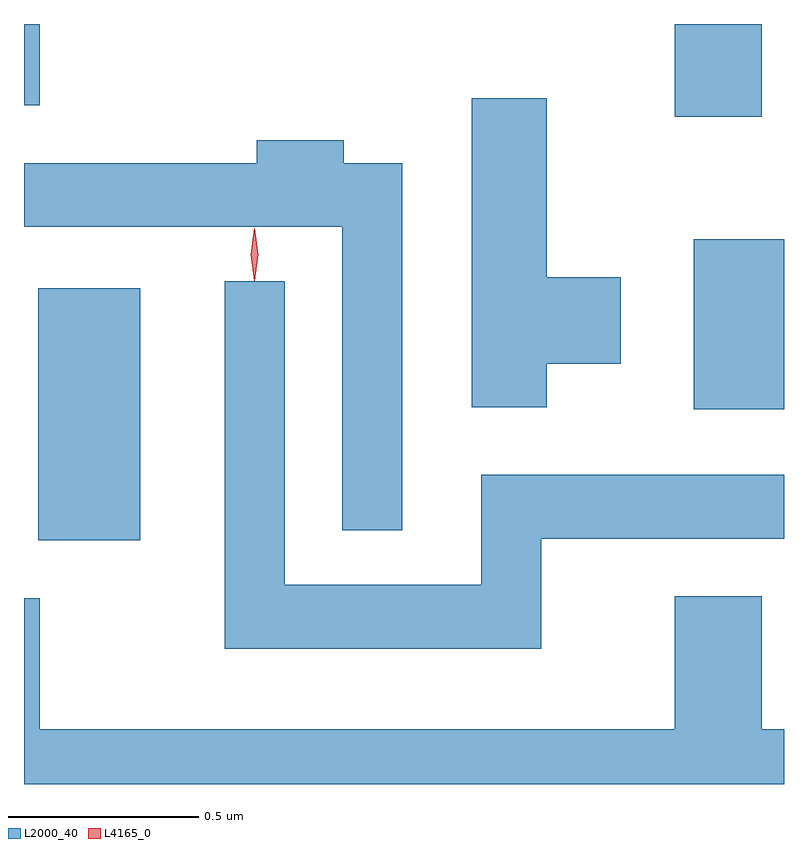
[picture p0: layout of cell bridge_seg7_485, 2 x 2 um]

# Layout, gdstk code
import gdstk
lib = gdstk.Library(unit=1e-6, precision=1e-09)
def R(c, l, rs):  # rectangles x0, y0, x1, y1
    for r in rs: c.add(gdstk.rectangle(r[:2], r[2:], *l))
def P(c, l, *ps):  # polygons
    for p in ps: c.add(gdstk.Polygon(p, *l))
L2000_40 = (2000, 40)
L4165_0 = (4165, 0)

bridge_seg7_485 = lib.new_cell('bridge_seg7_485')
R(bridge_seg7_485, L2000_40, [(1117.696,1732.841,1117.964,1733.504), (1119.421,1733.186,1119.658,1733.634), (1119.371,1733.956,1119.599,1734.2), (1117.658,1733.986,1117.699,1734.2)])
P(bridge_seg7_485, L2000_40, [(1119.034,1733.306),(1119.229,1733.306),(1119.229,1733.534),(1119.034,1733.534),(1119.034,1734.004),(1118.836,1734.004),(1118.836,1733.191),(1119.034,1733.191)],
  [(1118.654,1733.834),(1118.499,1733.834),(1118.499,1733.894),(1118.271,1733.894),(1118.271,1733.834),(1117.658,1733.834),(1117.658,1733.666),(1118.496,1733.666),(1118.496,1732.868),(1118.654,1732.868)],
  [(1119.019,1732.846),(1119.658,1732.846),(1119.658,1733.014),(1118.861,1733.014),(1118.861,1732.724),(1118.344,1732.724),(1118.344,1733.523),(1118.186,1733.523),(1118.186,1732.556),(1119.019,1732.556)],
  [(1119.658,1732.344),(1119.599,1732.344),(1119.599,1732.694),(1119.371,1732.694),(1119.371,1732.344),(1117.699,1732.344),(1117.699,1732.689),(1117.658,1732.689),(1117.658,1732.2),(1119.658,1732.2)])
P(bridge_seg7_485, L4165_0, [(1118.264,1733.524),(1118.255,1733.593),(1118.264,1733.662),(1118.265,1733.663),(1118.265,1733.662),(1118.275,1733.593),(1118.265,1733.524),(1118.265,1733.524)])

lib.write_gds('bridge_seg7_485.gds')
